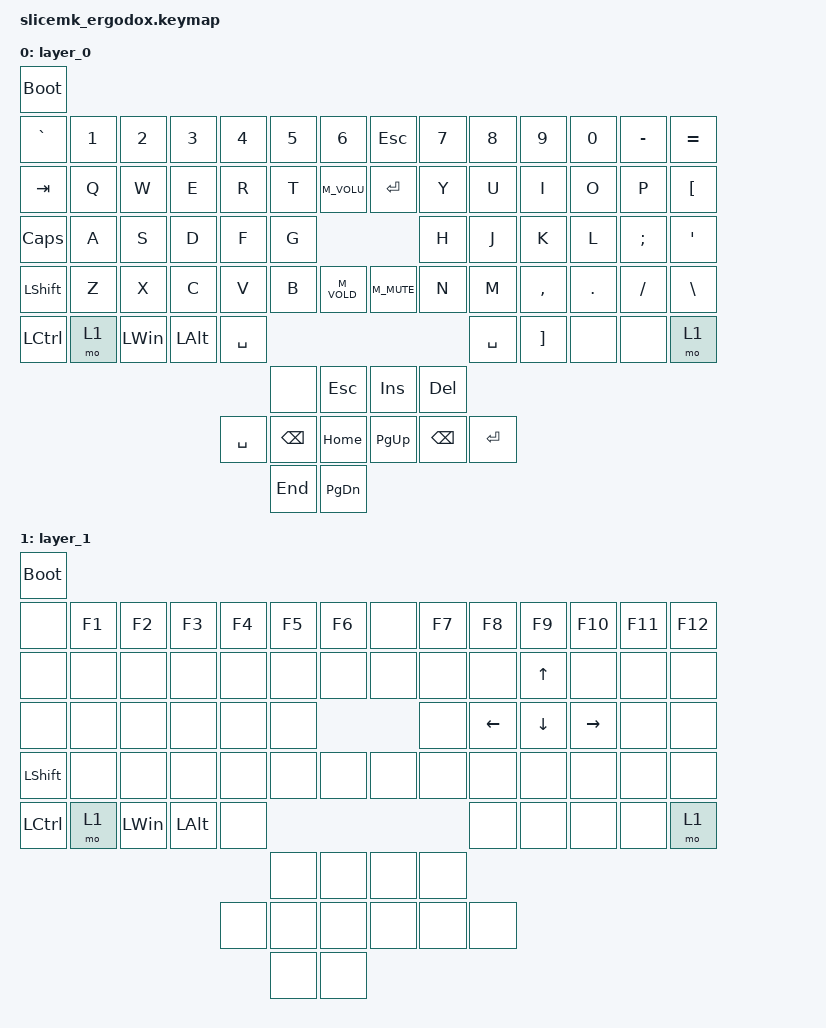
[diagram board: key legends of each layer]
#include <behaviors.dtsi>
#include <dt-bindings/zmk/bt.h>
#include <dt-bindings/zmk/keys.h>
#include <dt-bindings/zmk/outputs.h>

/ {
	keymap {
		compatible = "zmk,keymap";

		layer_0 {
			bindings = <
				&bootloader
				&kp GRAV   &kp NUMBER_1 &kp NUMBER_2 &kp NUMBER_3 &kp NUMBER_4 &kp NUMBER_5  &kp NUMBER_6  &kp ESC       &kp NUMBER_7 &kp NUMBER_8 &kp NUMBER_9      &kp NUMBER_0 &kp MINUS     &kp EQUAL
				&kp TAB    &kp Q        &kp W        &kp E        &kp R        &kp T         &kp M_VOLU    &kp RET       &kp Y        &kp U        &kp I             &kp O        &kp P         &kp LEFT_BRACKET
				&kp CAPS   &kp A        &kp S        &kp D        &kp F        &kp G                                     &kp H        &kp J        &kp K             &kp L        &kp SEMICOLON &kp SINGLE_QUOTE
				&kp LSHIFT &kp Z        &kp X        &kp C        &kp V        &kp B         &kp M_VOLD    &kp M_MUTE    &kp N        &kp M        &kp CMMA          &kp DOT      &kp SLASH     &kp BACKSLASH
				&kp LCTRL  &mo 1        &kp LWIN     &kp LALT     &kp SPC                                                             &kp SPC      &kp RIGHT_BRACKET &none        &none         &mo 1

				                                                          &none    &kp ESC   &kp INS       &kp DEL
				                                                  &kp SPC &kp BSPC &kp HOME  &kp PAGE_UP   &kp BSPC &kp RET
				                                                                   &kp END   &kp PAGE_DOWN
			>;
		};

		layer_1 {
			bindings = <
				&bootloader
				&none      &kp F1 &kp F2   &kp F3    &kp F4 &kp F5 &kp F6     &none &kp F7 &kp F8    &kp F9    &kp F10   &kp F11 &kp F12
				&none      &none  &none    &none     &none  &none  &none      &none &none  &none     &kp UP    &none     &none   &none
				&none      &none  &none    &none     &none  &none                   &none  &kp LEFT  &kp DOWN  &kp RIGHT &none   &none
				&kp LSHIFT &none  &none    &none     &none  &none  &none      &none &none  &none     &none     &none     &none   &none
				&kp LCTRL  &mo 1  &kp LWIN &kp LALT  &none                                 &none     &none     &none     &none   &mo 1

				                                            &none &none  &none &none
				                                      &none &none &none  &none &none &none
				                                                  &none  &none
			>;
		};
	};
};
